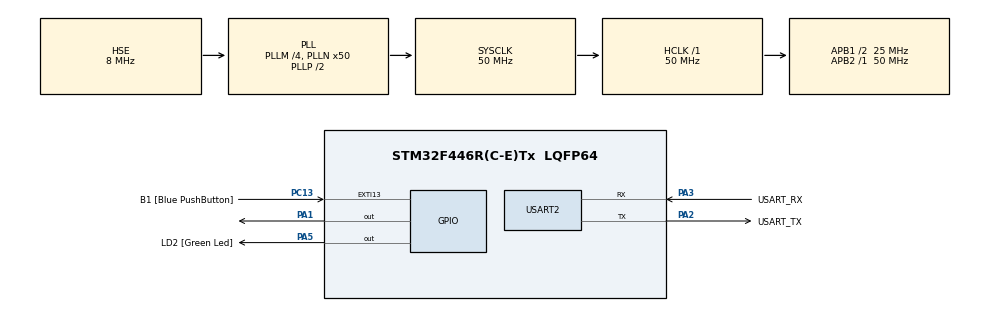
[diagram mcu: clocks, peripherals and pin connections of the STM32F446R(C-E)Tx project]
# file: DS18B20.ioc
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Mcu.Family=STM32F4
Mcu.Name=STM32F446R(C-E)Tx
Mcu.Package=LQFP64
NVIC.PriorityGroup=NVIC_PRIORITYGROUP_0
PA1.Signal=GPIO_Output
PA13.GPIO_Label=TMS
PA13.Signal=SYS_JTMS-SWDIO
PA14.GPIO_Label=TCK
PA14.Signal=SYS_JTCK-SWCLK
PA2.GPIO_Label=USART_TX
PA2.Mode=Asynchronous
PA2.Signal=USART2_TX
PA3.GPIO_Label=USART_RX
PA3.Mode=Asynchronous
PA3.Signal=USART2_RX
PA5.GPIO_Label=LD2 [Green Led]
PA5.Signal=GPIO_Output
PB3.GPIO_Label=SWO
PB3.Signal=SYS_JTDO-SWO
PC13.GPIO_Label=B1 [Blue PushButton]
PC13.GPIO_ModeDefaultEXTI=GPIO_MODE_IT_FALLING
PC13.Signal=GPXTI13
PC14-OSC32_IN.Signal=RCC_OSC32_IN
PC15-OSC32_OUT.Signal=RCC_OSC32_OUT
PH0-OSC_IN.Mode=HSE-External-Oscillator
PH0-OSC_IN.Signal=RCC_OSC_IN
PH1-OSC_OUT.Mode=HSE-External-Oscillator
PH1-OSC_OUT.Signal=RCC_OSC_OUT
ProjectManager.HeapSize=0x200
ProjectManager.StackSize=0x400
ProjectManager.TargetToolchain=STM32CubeIDE
RCC.AHBFreq_Value=50000000
RCC.APB1CLKDivider=RCC_HCLK_DIV2
RCC.APB1Freq_Value=25000000
RCC.APB1TimFreq_Value=50000000
RCC.APB2Freq_Value=50000000
RCC.APB2TimFreq_Value=50000000
RCC.CortexFreq_Value=50000000
RCC.FLatency-AdvancedSettings=FLASH_LATENCY_1
RCC.HCLKFreq_Value=50000000
RCC.HSE_VALUE=8000000
RCC.HSI_VALUE=16000000
RCC.LSE_VALUE=32768
RCC.PLLM=4
RCC.PLLN=50
RCC.PLLSourceVirtual=RCC_PLLSOURCE_HSE
RCC.SYSCLKFreq_VALUE=50000000
RCC.SYSCLKSource=RCC_SYSCLKSOURCE_PLLCLK
RCC.USBFreq_Value=50000000
RCC.VCOOutputFreq_Value=100000000
TIM6.Period=0xffff-1
TIM6.Prescaler=50-1
USART2.VirtualMode=VM_ASYNC
VP_TIM6_VS_ClockSourceINT.Mode=Enable_Timer
board=NUCLEO-F446RE

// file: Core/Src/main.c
/* USER CODE BEGIN Header */
/**
  ******************************************************************************
  * @file           : main.c
  * @brief          : Main program body
  ******************************************************************************
  * @attention
  *
  * Copyright (c) 2023 STMicroelectronics.
  * All rights reserved.
  *
  * This software is licensed under terms that can be found in the LICENSE file
  * in the root directory of this software component.
  * If no LICENSE file comes with this software, it is provided AS-IS.
  *
  ******************************************************************************
  */
/* USER CODE END Header */
#include "main.h"

/* USER CODE BEGIN PD */
#define DS18B20_PORT 	GPIOA
#define DS18B20_PIN		GPIO_PIN_1
/* USER CODE END PD */

TIM_HandleTypeDef htim6;

UART_HandleTypeDef huart2;

/* USER CODE BEGIN PV */
uint8_t Temp_byte1, Temp_byte2;
uint16_t TEMP;
float Temperature = 0;
uint8_t Presence = 0;
/* USER CODE END PV */

void SystemClock_Config(void);
static void MX_GPIO_Init(void);
static void MX_TIM6_Init(void);
static void MX_USART2_UART_Init(void);
/* USER CODE BEGIN PFP */
void delay (uint32_t us)
{
    __HAL_TIM_SET_COUNTER(&htim6,0);
    while ((__HAL_TIM_GET_COUNTER(&htim6))<us);
}

void Set_Pin_Output(GPIO_TypeDef *GPIOx, uint16_t GPIO_Pin)
{
  GPIO_InitTypeDef GPIO_InitStruct = {0};
  GPIO_InitStruct.Pin = GPIO_Pin;
  GPIO_InitStruct.Mode = GPIO_MODE_OUTPUT_PP;
  GPIO_InitStruct.Speed = GPIO_SPEED_FREQ_LOW;
  HAL_GPIO_Init(GPIOx, &GPIO_InitStruct);
}

void Set_Pin_Input(GPIO_TypeDef *GPIOx, uint16_t GPIO_Pin)
{
  GPIO_InitTypeDef GPIO_InitStruct = {0};
  GPIO_InitStruct.Pin = GPIO_Pin;
  GPIO_InitStruct.Mode = GPIO_MODE_INPUT;
  GPIO_InitStruct.Pull = GPIO_PULLUP;
  HAL_GPIO_Init(GPIOx, &GPIO_InitStruct);
}

uint8_t DS18B20_Start(void)
{
  uint8_t Response = 0;
	Set_Pin_Output(DS18B20_PORT, DS18B20_PIN);   // set the pin as output
	HAL_GPIO_WritePin (DS18B20_PORT, DS18B20_PIN, RESET);  // pull the pin low
	delay (480);   // delay according to datasheet

	Set_Pin_Input(DS18B20_PORT, DS18B20_PIN);    // set the pin as input
	delay (80);    // delay according to datasheet

	if (!(HAL_GPIO_ReadPin (DS18B20_PORT, DS18B20_PIN))) Response = 1;    // if the pin is low i.e the presence pulse is detected
	else Response = -1;

	delay (400); // 480 us delay totally.

	return Response;
}

void DS18B20_Write (uint8_t data)
{
	Set_Pin_Output(DS18B20_PORT, DS18B20_PIN);  // set as output

	for (int i=0; i<8; i++)
	{

		if ((data & (1<<i))!=0)  // if the bit is high
		{
			// write 1

			Set_Pin_Output(DS18B20_PORT, DS18B20_PIN);  // set as output
			HAL_GPIO_WritePin (DS18B20_PORT, DS18B20_PIN, RESET);  // pull the pin LOW
			delay (1);  // wait for 1 us

			Set_Pin_Input(DS18B20_PORT, DS18B20_PIN);  // set as input
			delay (50);  // wait for 60 us
		}

		else  // if the bit is low
		{
			// write 0

			Set_Pin_Output(DS18B20_PORT, DS18B20_PIN);
			HAL_GPIO_WritePin (DS18B20_PORT, DS18B20_PIN, RESET);  // pull the pin LOW
			delay (50);  // wait for 60 us

			Set_Pin_Input(DS18B20_PORT, DS18B20_PIN);
		}
	}
}

uint8_t DS18B20_Read(void)
{
	uint8_t value=0;
	Set_Pin_Input(DS18B20_PORT, DS18B20_PIN);

	for (int i=0;i<8;i++)
	{
		Set_Pin_Output(DS18B20_PORT, DS18B20_PIN);  // set as output

		HAL_GPIO_WritePin (DS18B20_PORT, DS18B20_PIN, RESET);  // pull the data pin LOW
		delay (2);  // wait for 2 us

		Set_Pin_Input(DS18B20_PORT, DS18B20_PIN);  // set as input
		if (HAL_GPIO_ReadPin(DS18B20_PORT, DS18B20_PIN))  // if the pin is HIGH
		{
			value |= 1<<i;  // read = 1
		}
		delay (60);  // wait for 60 us
	}
	return value;
}

/* USER CODE END PFP */

int main(void)
{
  /* USER CODE BEGIN 1 */
  RCC->AHB1ENR |= (1U<<0UL);
  GPIOA->MODER |= (1U<<10UL);
  GPIOA->MODER &=~(1U<<11UL);

  /* USER CODE END 1 */

  /* MCU Configuration--------------------------------------------------------*/

  /* Reset of all peripherals, Initializes the Flash interface and the Systick. */
  HAL_Init();

  /* Configure the system clock */
  SystemClock_Config();

  /* Initialize all configured peripherals */
  MX_GPIO_Init();
  MX_TIM6_Init();
  MX_USART2_UART_Init();

  /* Infinite loop */
  while (1)
  {

    /* USER CODE BEGIN 3 */
    Presence = DS18B20_Start ();
    HAL_Delay (1);
    DS18B20_Write (0xCC);  // skip ROM
    DS18B20_Write (0x44);  // convert t
    HAL_Delay (800);

    Presence = DS18B20_Start ();
    HAL_Delay(1);
    DS18B20_Write (0xCC);  // skip ROM
    DS18B20_Write (0xBE);  // Read Scratch-pad

    Temp_byte1 = DS18B20_Read();
    Temp_byte2 = DS18B20_Read();
    TEMP = (Temp_byte2<<8)|Temp_byte1;
    Temperature = (float)TEMP/16;

    HAL_Delay(3000);

  }
  /* USER CODE END 3 */
}

void SystemClock_Config(void)
{
  RCC_OscInitTypeDef RCC_OscInitStruct = {0};
  RCC_ClkInitTypeDef RCC_ClkInitStruct = {0};

  /** Configure the main internal regulator output voltage
  */
  __HAL_RCC_PWR_CLK_ENABLE();
  __HAL_PWR_VOLTAGESCALING_CONFIG(PWR_REGULATOR_VOLTAGE_SCALE3);

  /** Initializes the RCC Oscillators according to the specified parameters
  * in the RCC_OscInitTypeDef structure.
  */
  RCC_OscInitStruct.OscillatorType = RCC_OSCILLATORTYPE_HSE;
  RCC_OscInitStruct.HSEState = RCC_HSE_ON;
  RCC_OscInitStruct.PLL.PLLState = RCC_PLL_ON;
  RCC_OscInitStruct.PLL.PLLSource = RCC_PLLSOURCE_HSE;
  RCC_OscInitStruct.PLL.PLLM = 4;
  RCC_OscInitStruct.PLL.PLLN = 50;
  RCC_OscInitStruct.PLL.PLLP = RCC_PLLP_DIV2;
  RCC_OscInitStruct.PLL.PLLQ = 2;
  RCC_OscInitStruct.PLL.PLLR = 2;
  if (HAL_RCC_OscConfig(&RCC_OscInitStruct) != HAL_OK)
  {
    Error_Handler();
  }

  /** Initializes the CPU, AHB and APB buses clocks
  */
  RCC_ClkInitStruct.ClockType = RCC_CLOCKTYPE_HCLK|RCC_CLOCKTYPE_SYSCLK
                              |RCC_CLOCKTYPE_PCLK1|RCC_CLOCKTYPE_PCLK2;
  RCC_ClkInitStruct.SYSCLKSource = RCC_SYSCLKSOURCE_PLLCLK;
  RCC_ClkInitStruct.AHBCLKDivider = RCC_SYSCLK_DIV1;
  RCC_ClkInitStruct.APB1CLKDivider = RCC_HCLK_DIV2;
  RCC_ClkInitStruct.APB2CLKDivider = RCC_HCLK_DIV1;

  if (HAL_RCC_ClockConfig(&RCC_ClkInitStruct, FLASH_LATENCY_1) != HAL_OK)
  {
    Error_Handler();
  }
}

static void MX_TIM6_Init(void)
{

  TIM_MasterConfigTypeDef sMasterConfig = {0};

  htim6.Instance = TIM6;
  htim6.Init.Prescaler = 50-1;
  htim6.Init.CounterMode = TIM_COUNTERMODE_UP;
  htim6.Init.Period = 0xffff-1;
  htim6.Init.AutoReloadPreload = TIM_AUTORELOAD_PRELOAD_DISABLE;
  if (HAL_TIM_Base_Init(&htim6) != HAL_OK)
  {
    Error_Handler();
  }
  sMasterConfig.MasterOutputTrigger = TIM_TRGO_RESET;
  sMasterConfig.MasterSlaveMode = TIM_MASTERSLAVEMODE_DISABLE;
  if (HAL_TIMEx_MasterConfigSynchronization(&htim6, &sMasterConfig) != HAL_OK)
  {
    Error_Handler();
  }

}

static void MX_USART2_UART_Init(void)
{

  huart2.Instance = USART2;
  huart2.Init.BaudRate = 115200;
  huart2.Init.WordLength = UART_WORDLENGTH_8B;
  huart2.Init.StopBits = UART_STOPBITS_1;
  huart2.Init.Parity = UART_PARITY_NONE;
  huart2.Init.Mode = UART_MODE_TX_RX;
  huart2.Init.HwFlowCtl = UART_HWCONTROL_NONE;
  huart2.Init.OverSampling = UART_OVERSAMPLING_16;
  if (HAL_UART_Init(&huart2) != HAL_OK)
  {
    Error_Handler();
  }

}

static void MX_GPIO_Init(void)
{
  GPIO_InitTypeDef GPIO_InitStruct = {0};

  /* GPIO Ports Clock Enable */
  __HAL_RCC_GPIOC_CLK_ENABLE();
  __HAL_RCC_GPIOH_CLK_ENABLE();
  __HAL_RCC_GPIOA_CLK_ENABLE();
  __HAL_RCC_GPIOB_CLK_ENABLE();

  /*Configure GPIO pin Output Level */
  HAL_GPIO_WritePin(GPIOA, GPIO_PIN_1|LD2_Pin, GPIO_PIN_RESET);

  /*Configure GPIO pin : B1_Pin */
  GPIO_InitStruct.Pin = B1_Pin;
  GPIO_InitStruct.Mode = GPIO_MODE_IT_FALLING;
  GPIO_InitStruct.Pull = GPIO_NOPULL;
  HAL_GPIO_Init(B1_GPIO_Port, &GPIO_InitStruct);

  /*Configure GPIO pins : PA1 LD2_Pin */
  GPIO_InitStruct.Pin = GPIO_PIN_1|LD2_Pin;
  GPIO_InitStruct.Mode = GPIO_MODE_OUTPUT_PP;
  GPIO_InitStruct.Pull = GPIO_NOPULL;
  GPIO_InitStruct.Speed = GPIO_SPEED_FREQ_LOW;
  HAL_GPIO_Init(GPIOA, &GPIO_InitStruct);

}

void Error_Handler(void)
{
  __disable_irq();
  while (1)
  {
  }
}
